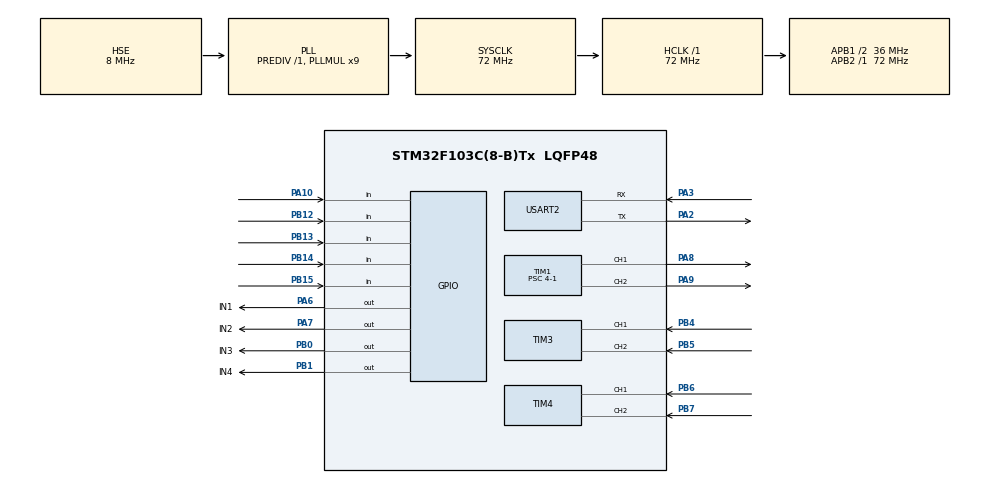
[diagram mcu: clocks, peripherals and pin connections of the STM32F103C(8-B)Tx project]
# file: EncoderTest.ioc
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Mcu.Family=STM32F1
Mcu.Name=STM32F103C(8-B)Tx
Mcu.Package=LQFP48
NVIC.PriorityGroup=NVIC_PRIORITYGROUP_4
NVIC.TIM2_IRQn=true\:1\:0\:true\:false\:true\:true\:true\:true
PA10.Signal=GPIO_Input
PA13.Mode=Serial_Wire
PA13.Signal=SYS_JTMS-SWDIO
PA14.Mode=Serial_Wire
PA14.Signal=SYS_JTCK-SWCLK
PA2.Mode=Asynchronous
PA2.Signal=USART2_TX
PA3.Mode=Asynchronous
PA3.Signal=USART2_RX
PA6.GPIO_Label=IN1
PA6.PinState=GPIO_PIN_RESET
PA6.Signal=GPIO_Output
PA7.GPIO_Label=IN2
PA7.PinState=GPIO_PIN_SET
PA7.Signal=GPIO_Output
PA8.Signal=S_TIM1_CH1
PA9.Signal=S_TIM1_CH2
PB0.GPIO_Label=IN3
PB0.PinState=GPIO_PIN_SET
PB0.Signal=GPIO_Output
PB1.GPIO_Label=IN4
PB1.Signal=GPIO_Output
PB12.Signal=GPIO_Input
PB13.Signal=GPIO_Input
PB14.Signal=GPIO_Input
PB15.Signal=GPIO_Input
PB4.Signal=S_TIM3_CH1
PB5.Signal=S_TIM3_CH2
PB6.Signal=S_TIM4_CH1
PB7.Signal=S_TIM4_CH2
PD0-OSC_IN.Mode=HSE-External-Oscillator
PD0-OSC_IN.Signal=RCC_OSC_IN
PD1-OSC_OUT.Mode=HSE-External-Oscillator
PD1-OSC_OUT.Signal=RCC_OSC_OUT
ProjectManager.HeapSize=0x200
ProjectManager.StackSize=0x600
ProjectManager.TargetToolchain=MDK-ARM V5
RCC.AHBFreq_Value=72000000
RCC.APB1CLKDivider=RCC_HCLK_DIV2
RCC.APB1Freq_Value=36000000
RCC.APB1TimFreq_Value=72000000
RCC.APB2Freq_Value=72000000
RCC.APB2TimFreq_Value=72000000
RCC.HCLKFreq_Value=72000000
RCC.PLLMUL=RCC_PLL_MUL9
RCC.PLLSourceVirtual=RCC_PLLSOURCE_HSE
RCC.SYSCLKFreq_VALUE=72000000
RCC.SYSCLKSource=RCC_SYSCLKSOURCE_PLLCLK
RCC.USBFreq_Value=72000000
SH.S_TIM1_CH1.0=TIM1_CH1,PWM Generation1 CH1
SH.S_TIM1_CH2.0=TIM1_CH2,PWM Generation2 CH2
SH.S_TIM3_CH1.0=TIM3_CH1,Encoder_Interface
SH.S_TIM3_CH2.0=TIM3_CH2,Encoder_Interface
SH.S_TIM4_CH1.0=TIM4_CH1,Encoder_Interface
SH.S_TIM4_CH2.0=TIM4_CH2,Encoder_Interface
TIM1.Channel-PWM\ Generation1\ CH1=TIM_CHANNEL_1
TIM1.Channel-PWM\ Generation2\ CH2=TIM_CHANNEL_2
TIM1.Period=1000-1
TIM1.Prescaler=4-1
TIM2.Period=7200-1
TIM2.Prescaler=500-1
TIM3.AutoReloadPreload=TIM_AUTORELOAD_PRELOAD_ENABLE
TIM3.EncoderMode=TIM_ENCODERMODE_TI12
TIM4.AutoReloadPreload=TIM_AUTORELOAD_PRELOAD_ENABLE
TIM4.EncoderMode=TIM_ENCODERMODE_TI12
USART2.VirtualMode=VM_ASYNC
VP_TIM1_VS_ClockSourceINT.Mode=Internal
VP_TIM2_VS_ClockSourceINT.Mode=Internal
board=custom

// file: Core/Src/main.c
/* USER CODE BEGIN Header */
/**
  ******************************************************************************
  * @file           : main.c
  * @brief          : Car main control program
  ******************************************************************************
  * @attention
  *
  * Copyright (c) 2023 STMicroelectronics.
  * All rights reserved.
  *
  * This software is licensed under terms that can be found in the LICENSE file
  * in the root directory of this software component.
  * If no LICENSE file comes with this software, it is provided AS-IS.
  *
  ******************************************************************************
  */
/* USER CODE END Header */
#include "main.h"
#include "tim.h"
#include "usart.h"
#include "gpio.h"

/* USER CODE BEGIN Includes */
#include "motor.h"
#include "pid.h"
#include "stdio.h"
/* USER CODE END Includes */

/* USER CODE BEGIN PV */
short encoderPulse[2]={0};
float targetVelocity = 0.5; // target speed
int out1, out2;

PID_InitDefStruct leftMotor_PID;
PID_InitDefStruct rightMotor_PID;
/* USER CODE END PV */

void SystemClock_Config(void);

int main(void)
{

  /* MCU Configuration--------------------------------------------------------*/

  /* Reset of all peripherals, Initializes the Flash interface and the Systick. */
  HAL_Init();

  /* USER CODE BEGIN Init */
  PID_Init(&leftMotor_PID);
  PID_Init(&rightMotor_PID);
	rightMotor_PID.Kp = 600;
  rightMotor_PID.Ki = 200;
	rightMotor_PID.Kd = 350;
	rightMotor_PID.Un	= 725;

  /* USER CODE END Init */

  /* Configure the system clock */
  SystemClock_Config();

  /* Initialize all configured peripherals */
  MX_GPIO_Init();
  MX_TIM1_Init();
  MX_TIM2_Init();
  MX_TIM3_Init();
  MX_TIM4_Init();
  MX_USART2_UART_Init();
  /* USER CODE BEGIN 2 */
	HAL_TIM_Base_Start_IT(&htim2);      // set 50ms interrupt
  HAL_TIM_PWM_Start(&htim1, TIM_CHANNEL_1);   // set TIM1_CH1 PWM -- right wheel
	HAL_TIM_PWM_Start(&htim1, TIM_CHANNEL_2);   // set TIM1_CH2 PWM -- left wheel
  HAL_TIM_Encoder_Start(&htim3, TIM_CHANNEL_1);
  HAL_TIM_Encoder_Start(&htim3, TIM_CHANNEL_2);
	HAL_TIM_Encoder_Start(&htim4, TIM_CHANNEL_1);
  HAL_TIM_Encoder_Start(&htim4, TIM_CHANNEL_2);   // start encoder timer

	__HAL_TIM_ENABLE_IT(&htim3,TIM_IT_UPDATE);
	__HAL_TIM_ENABLE_IT(&htim4,TIM_IT_UPDATE);  // start encoder timer to update interrupts and prevent overflow processing

  __HAL_TIM_SET_COUNTER(&htim3, 30000);
	__HAL_TIM_SET_COUNTER(&htim4, 30000);   // initialize encoder timing and set it to 3000

  /* USER CODE END 2 */

  /* Infinite loop */
  /* USER CODE BEGIN WHILE */
  while (1)
  {
    MotorControl(0,leftMotor_PID.PWM,rightMotor_PID.PWM);

		if(HAL_GPIO_ReadPin(GPIOB,GPIO_PIN_15) == GPIO_PIN_SET) out1 = 1;
		else out1 = 0;
		if(HAL_GPIO_ReadPin(GPIOB,GPIO_PIN_14) == GPIO_PIN_SET) out2 = 1;
		else out2 = 0;

    // MotorControl(0,900,900);  //直行
    // HAL_Delay(2000);
    // MotorControl(2,0,0);      //停止
    // HAL_Delay(2000);
    // MotorControl(1,5000,5000);  //后退
    // HAL_Delay(2000);
    // MotorControl(0,0,2000);    //前进左转
    // HAL_Delay(2000);
    // MotorControl(0,2000,0);    //前进右转
    // HAL_Delay(2000);
    // MotorControl(1,0,2000);    //左转退回
    // HAL_Delay(2000);
    // MotorControl(1,2000,0);    //右转退回
    // HAL_Delay(2000);
    /* USER CODE END WHILE */

  }
}

void SystemClock_Config(void)
{
  RCC_OscInitTypeDef RCC_OscInitStruct = {0};
  RCC_ClkInitTypeDef RCC_ClkInitStruct = {0};

  /** Initializes the RCC Oscillators according to the specified parameters
  * in the RCC_OscInitTypeDef structure.
  */
  RCC_OscInitStruct.OscillatorType = RCC_OSCILLATORTYPE_HSE;
  RCC_OscInitStruct.HSEState = RCC_HSE_ON;
  RCC_OscInitStruct.HSEPredivValue = RCC_HSE_PREDIV_DIV1;
  RCC_OscInitStruct.HSIState = RCC_HSI_ON;
  RCC_OscInitStruct.PLL.PLLState = RCC_PLL_ON;
  RCC_OscInitStruct.PLL.PLLSource = RCC_PLLSOURCE_HSE;
  RCC_OscInitStruct.PLL.PLLMUL = RCC_PLL_MUL9;
  if (HAL_RCC_OscConfig(&RCC_OscInitStruct) != HAL_OK)
  {
    Error_Handler();
  }

  /** Initializes the CPU, AHB and APB buses clocks
  */
  RCC_ClkInitStruct.ClockType = RCC_CLOCKTYPE_HCLK|RCC_CLOCKTYPE_SYSCLK
                              |RCC_CLOCKTYPE_PCLK1|RCC_CLOCKTYPE_PCLK2;
  RCC_ClkInitStruct.SYSCLKSource = RCC_SYSCLKSOURCE_PLLCLK;
  RCC_ClkInitStruct.AHBCLKDivider = RCC_SYSCLK_DIV1;
  RCC_ClkInitStruct.APB1CLKDivider = RCC_HCLK_DIV2;
  RCC_ClkInitStruct.APB2CLKDivider = RCC_HCLK_DIV1;

  if (HAL_RCC_ClockConfig(&RCC_ClkInitStruct, FLASH_LATENCY_2) != HAL_OK)
  {
    Error_Handler();
  }
}

/* USER CODE BEGIN 4 */
// printf redirect
int fputc(int ch, FILE *f)
{
 uint8_t temp[1] = {ch};
 HAL_UART_Transmit(&huart2, temp, 1, 2);
 return ch;
}

// Encoder speed measurement -------------------------------------------------------------
/**
  * @brief  read the count value(encoder pulse value) of TIM2 and TIM3, TIM3 -- rightWheel, TIM4 -- leftWheel
  * @param  None
  * @retval None
  */
void GetEncoderPulse()
{
  encoderPulse[0] = -((short)__HAL_TIM_GET_COUNTER(&htim3));
  encoderPulse[1] = -((short)__HAL_TIM_GET_COUNTER(&htim4));

  __HAL_TIM_GET_COUNTER(&htim3) = 0;
  __HAL_TIM_GET_COUNTER(&htim4) = 0;  // reset pulse count value
}

// interrupt handler
void HAL_TIM_PeriodElapsedCallback(TIM_HandleTypeDef *htim)
{
  float c_leftSpeed, c_rightSpeed, c_leftSpeed_afterPID;

  if(htim->Instance == TIM2)
  {
    GetEncoderPulse();
    c_leftSpeed = CalActualSpeed(encoderPulse[1]);   // calculate current speed
    c_rightSpeed = CalActualSpeed(encoderPulse[0]);
    //printf("leftSpeed = %.2f m/s, rightSpeed = %.2f m/s, deltaSpeed = %.2f m/s\n\r", c_leftSpeed, c_rightSpeed, c_leftSpeed-c_rightSpeed);
    printf("%.2f,%.2f\n\r", c_leftSpeed, c_rightSpeed);

    Velocity_PID(targetVelocity,c_leftSpeed,&leftMotor_PID); // calculate the PID parameters for the left motor
    c_leftSpeed_afterPID = CalActualSpeed(encoderPulse[1]);
    Velocity_PID(c_leftSpeed_afterPID,c_rightSpeed,&rightMotor_PID);  // calculate the PID of the right motor based on the speed of the left motor

    //MotorControl(0,leftMotor_PID.PWM,rightMotor_PID.PWM);
    // printf("LeftMotor_PID.pwm_add = %.2f m/s, RightMotor_PID.pwm_add = %.2f m/s\n\r", LeftMotor_PID.pwm_add, RightMotor_PID.pwm_add);
  }
}
/* USER CODE END 4 */

void Error_Handler(void)
{
  __disable_irq();
  while (1)
  {
  }
}
